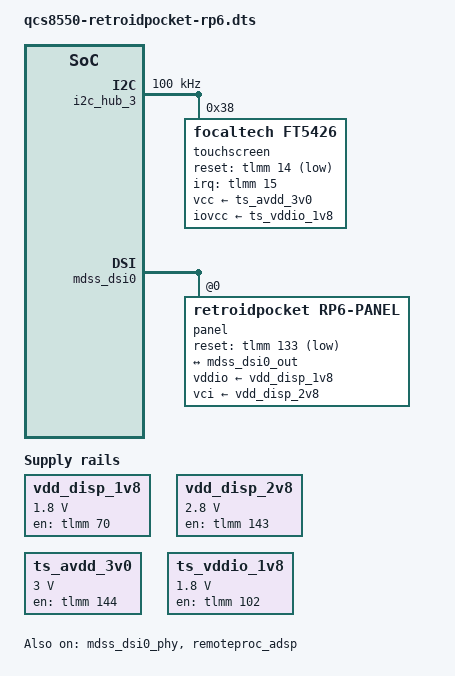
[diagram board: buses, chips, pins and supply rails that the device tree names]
// SPDX-License-Identifier: BSD-3-Clause
/*
 * Copyright (C) 2026-present ROCKNIX (https://github.com/ROCKNIX).
 */

/dts-v1/;

#include <dt-bindings/gpio/gpio.h>
#include <dt-bindings/interrupt-controller/irq.h>
#include "qcs8550-ayntec-common.dtsi"

&{/} {
	model = "Retroid Pocket 6";
	compatible = "retroidpocket,rp6", "qcom,qcs8550", "qcom,sm8550";

	vdd_disp_1v8: regulator-vdd-disp-1v8 {
		compatible = "regulator-fixed";
		regulator-name = "vdd_disp_1v8";

		regulator-min-microvolt = <1800000>;
		regulator-max-microvolt = <1800000>;

		gpio = <&tlmm 70 GPIO_ACTIVE_HIGH>;
		enable-active-high;
		startup-delay-us = <20000>;

		pinctrl-0 = <&panel_vddio_default>;
		pinctrl-names = "default";
	};

	vdd_disp_2v8: regulator-vdd-disp-2v8 {
		compatible = "regulator-fixed";
		regulator-name = "vdd_disp_2v8";

		regulator-min-microvolt = <2800000>;
		regulator-max-microvolt = <2800000>;

		gpio = <&tlmm 143 GPIO_ACTIVE_HIGH>;
		enable-active-high;
		startup-delay-us = <20000>;

		pinctrl-0 = <&panel_vci_default>;
		pinctrl-names = "default";
	};

	ts_avdd_3v0: regulator-ts-avdd-3v0 {
		compatible = "regulator-fixed";
		regulator-name = "ts_avdd_3v0";

		regulator-min-microvolt = <3000000>;
		regulator-max-microvolt = <3000000>;

		gpio = <&tlmm 144 GPIO_ACTIVE_HIGH>;
		enable-active-high;
	};

	ts_vddio_1v8: regulator-ts-vddio-1v8 {
		compatible = "regulator-fixed";
		regulator-name = "ts_vddio_1v8";

		regulator-min-microvolt = <1800000>;
		regulator-max-microvolt = <1800000>;

		gpio = <&tlmm 102 GPIO_ACTIVE_HIGH>;
		enable-active-high;
	};
};

&i2c_hub_3 {
	clock-frequency = <100000>;

	status = "okay";

	touchscreen@38 {
		compatible = "focaltech,ft5426";
		reg = <0x38>;

		interrupt-parent = <&tlmm>;
		interrupts = <15 IRQ_TYPE_EDGE_FALLING>;
		reset-gpios = <&tlmm 14 GPIO_ACTIVE_LOW>;

		vcc-supply = <&ts_avdd_3v0>;
		iovcc-supply = <&ts_vddio_1v8>;

		pinctrl-0 = <&ts_p_rst_default>, <&ts_p_int_default>;
		pinctrl-1 = <&ts_p_rst_sleep>, <&ts_p_int_sleep>;
		pinctrl-names = "default", "sleep";

		touchscreen-size-x = <1080>;
		touchscreen-size-y = <1920>;
		touchscreen-swapped-x-y;
	};
};

&mdss_dsi0 {
	vdda-supply = <&vreg_l3e_1p2>;
	status = "okay";

	panel@0 {
		compatible = "retroidpocket,rp6-panel", "visionox,vtdr6130";
		reg = <0>;

		vddio-supply = <&vdd_disp_1v8>;
		vci-supply = <&vdd_disp_2v8>;
		reset-gpios = <&tlmm 133 GPIO_ACTIVE_LOW>;
		rotation = <270>;

		pinctrl-0 = <&dsi_p_rst_active>, <&dsi_p_te_active>;
		pinctrl-1 = <&dsi_p_rst_suspend>, <&dsi_p_te_suspend>;
		pinctrl-names = "default", "sleep";

		port {
			panel0_in: endpoint {
				remote-endpoint = <&mdss_dsi0_out>;
			};
		};
	};
};

&mdss_dsi0_out {
	remote-endpoint = <&panel0_in>;
	data-lanes = <0 1 2 3>;
};

&mdss_dsi0_phy {
	vdds-supply = <&vreg_l1e_0p88>;
	status = "okay";
};

&mdss_dsi1 {
	status = "disabled";
};

&mdss_dsi1_phy {
	status = "disabled";
};

&remoteproc_adsp {
	firmware-name = "qcom/sm8550/retroidpocket/rp6/adsp.mbn",
			"qcom/sm8550/retroidpocket/rp6/adsp_dtb.mbn";

	status = "okay";
};

&spk_amp_l {
	firmware-name = "qcom/sm8550/retroidpocket/rp6/aw883xx_acf.bin";
};

&spk_amp_r {
	firmware-name = "qcom/sm8550/retroidpocket/rp6/aw883xx_acf.bin";
};

&tlmm {
	panel_vci_default: panel-vci-default-state {
		pins = "gpio143";
		function = "gpio";
		drive-strength = <16>;
		bias-pull-up;
	};

	panel_vddio_default: panel-vddio-default-state {
		pins = "gpio70";
		function = "gpio";
		drive-strength = <8>;
		bias-disable;
	};
};
